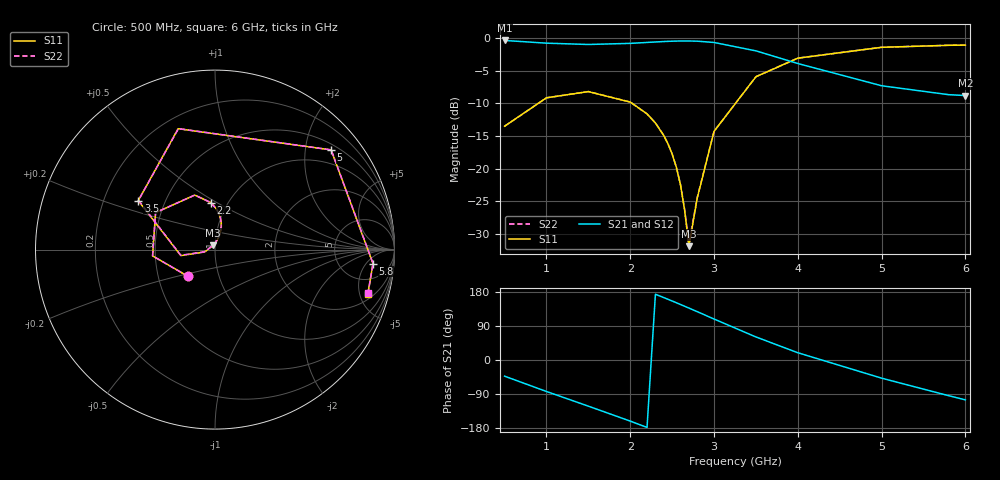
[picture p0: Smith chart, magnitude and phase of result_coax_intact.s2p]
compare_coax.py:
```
"""Compare the original PCB + BWSMA connector sweep with measured S11/S21."""
from .report_paths import REPORTS, write_report
import json
import numpy as np
import matplotlib
matplotlib.use('Agg')
import matplotlib.pyplot as plt
from .compare import HERE, MEASUREMENTS, measured, db

OUT=HERE/'preview_coax'


def main():
    data=np.load(HERE/'result_coax_intact.npz')
    meta=json.loads((HERE/'result_coax_intact.json').read_text(encoding='utf-8'))
    f=data['f'].reshape(-1);s=data['Smat50'];z=data['Z0']
    assert meta['status']=='completed' and s.shape==(len(f),2,2) and np.all(np.isfinite(s))
    mf,m11,m21=measured(MEASUREMENTS/'coupon_7628_horizontal_10mm.s2p')
    old=np.load(HERE/'result_2layer.npz')
    m21_at_f=np.interp(f,mf,db(m21))
    m11_at_f=np.interp(f,mf,db(m11))
    checks=dict(frequencies=len(f),nodes=meta['nodes'],tetrahedra=meta['tetrahedra'],
                modal_Z0_real_range_ohm=[float(z.real.min()),float(z.real.max())],
                max_modal_Z0_imag_ohm=float(abs(z.imag).max()),
                max_reciprocity_error=float(abs(s[:,1,0]-s[:,0,1]).max()),
                max_symmetry_error=float(abs(s[:,0,0]-s[:,1,1]).max()),
                max_singular_value=float(np.linalg.svd(s,compute_uv=False).max()),
                mean_abs_S21_error_dB=float(np.mean(abs(db(s[:,1,0])-m21_at_f))),
                prior_PCB_mean_abs_S21_error_dB=float(np.mean(abs(db(old['Smat'][:,1,0])-m21_at_f))),
                sampled_S11_minimum_GHz=float(f[np.argmin(abs(s[:,0,0]))]/1e9))
    rows=[]
    for k,freq in enumerate(f):
        rows.append(dict(f_GHz=float(freq/1e9),S11_dB=float(db(s[k,0,0])),
            S21_dB=float(db(s[k,1,0])),measured_S11_dB=float(m11_at_f[k]),
            measured_S21_dB=float(m21_at_f[k]),
            reflected_power=float(abs(s[k,0,0])**2),transmitted_power=float(abs(s[k,1,0])**2),
            remaining_power=float(1-abs(s[k,0,0])**2-abs(s[k,1,0])**2)))
    checks['rows']=rows
    (OUT/'comparison_metrics.json').write_text(json.dumps(checks,indent=2)+'\n',encoding='utf-8')
    for zoom in (False,True):
        fig,axes=plt.subplots(2,1,figsize=(10,8),sharex=True,constrained_layout=True)
        for ax,i,j,mv in [(axes[0],1,0,m21),(axes[1],0,0,m11)]:
            ax.plot(mf/1e9,db(mv),color='#0072b2',lw=1.5,label='Measured: 10 mm coupon, original connectors')
            ax.plot(f/1e9,db(s[:,i,j]),'o-',color='#009e73',lw=2,ms=4,
                    label='PCB + simplified BWSMA: coax ports, 50 ohm')
            ax.plot(old['f']/1e9,db(old['Smat'][:,i,j]),'x--',color='#8654a0',lw=1.1,ms=4,
                    label='Earlier PCB-only lumped-port reference')
            ax.grid(alpha=.25);ax.legend(fontsize=8,loc='lower left')
            ax.set_xlim((2.1,3.0) if zoom else (0,6.1))
        axes[0].set(ylabel='S21 (dB)',ylim=(-1.5,.1) if zoom else (-14,1))
        axes[1].set(ylabel='S11 (dB)',xlabel='Frequency (GHz)',ylim=(-50,1))
        fig.suptitle('Original PCB: no ground openings; simplified BWSMA connectors\n'
                     '20 directly solved frequencies; first-order FEM; 370,867 tetrahedra')
        fig.savefig(OUT/('coax_detail_2p6GHz.png' if zoom else 'coax_vs_measurement.png'),dpi=170,bbox_inches='tight')
        plt.close(fig)
    fig,axes=plt.subplots(2,1,figsize=(9,6),sharex=True,constrained_layout=True)
    z=z.reshape(len(f),2)
    for p in (0,1):
        axes[0].plot(f/1e9,z[:,p].real,'o-',ms=3,label=f'P{p+1}')
    axes[0].axhline(50,color='gray',ls='--',lw=1,label='Analytical design value')
    axes[0].set(ylabel='Native modal impedance (ohm)');axes[0].legend()
    for label,values in [('Reflected',abs(s[:,0,0])**2),('Transmitted',abs(s[:,1,0])**2),
                         ('Remaining: loss / radiation / numerical',1-abs(s[:,0,0])**2-abs(s[:,1,0])**2)]:
        axes[1].plot(f/1e9,values,'o-',ms=3,label=label)
    axes[1].set(ylabel='Fraction of incident power',xlabel='Frequency (GHz)',ylim=(-.03,1.03))
    axes[1].legend(fontsize=8)
    for ax in axes:ax.grid(alpha=.25)
    fig.suptitle('Coax port impedance and power balance (50-ohm S-matrix)')
    fig.savefig(OUT/'coax_ports_power.png',dpi=170);plt.close(fig)
    lines=['! Original 10 mm PCB, no ground openings; simplified BWSMA connectors included',
           '! Reference planes: coax annuli x=-8.10 and 28.26 mm; renormalized to 50 ohm',
           '! 20 directly solved frequencies; first-order FEM; no de-embedding','# Hz S RI R 50']
    for freq,m in zip(f,s):
        vals=[m[0,0],m[1,0],m[0,1],m[1,1]]
        lines.append(f'{freq:.12g} '+' '.join(f'{v.real:.12g} {v.imag:.12g}' for v in vals))
    (HERE/'result_coax_intact.s2p').write_text('\n'.join(lines)+'\n',encoding='utf-8')
    table=['| GHz | Sim. S21, dB | Meas. S21, dB | Sim. S11, dB | Meas. S11, dB |',
           '|---:|---:|---:|---:|---:|']
    for r in rows:
        table.append(f'| {r["f_GHz"]:g} | {r["S21_dB"]:.2f} | {r["measured_S21_dB"]:.2f} | '
                     f'{r["S11_dB"]:.2f} | {r["measured_S11_dB"]:.2f} |')
    text=['# Original PCB with simplified BWSMA connectors: first control', '',
          '**One new completed sweep: 20 frequencies, original ground beneath both launch pads.** '
          'No ground openings, mesh variants or geometry optimization are included in this result.', '',
          '![S21 and S11 versus the original-connector measurement](preview_coax/coax_vs_measurement.png)', '',
          'The connector-inclusive model reproduces the broad response: low transmission loss '
          'below about 3 GHz, a reflection minimum around 2.7 GHz, and strong reflection / '
          'transmission reduction above 3 GHz. It does not reproduce the measured high-frequency '
          'ripples or both narrow measured reflection minima near 2.5–2.7 GHz. '
          'At 3.5–5 GHz it predicts roughly 1.4–1.8 dB more transmission than measured. '
          'Adding these connectors therefore preserves the main earlier diagnosis, but does '
          'not produce a substantially better overall measurement fit.', '',
          '## Configuration', '',
          'The approved [connector geometry](03_CONNECTOR_GEOMETRY.md) is unchanged. '
          'The model retains all four copper layers, 12 ground vias, original pads and tapers, '
          'and simplified connector signal pins, ground tails, shields and PTFE. '
          'First-order FEM uses 370,867 tetrahedra / 63,157 nodes. One EMerge `run_sweep()` '
          'solves 20 frequencies from 0.5 to 6 GHz; `frequency_groups=1` limits matrix memory. '
          f'The solve took {meta["solve_seconds"]/60:.1f} minutes.', '',
          'The reference planes are coax annuli at x=−8.10 and 28.26 mm. '
          'The connectors remain included: no connector or feed de-embedding is applied. '
          'The raw native S-matrix, modal impedances and propagation constants are preserved; '
          'the plotted matrix and Touchstone export use a common 50 Ω reference. '
          'The measured file is `coupon_7628_horizontal_10mm.s2p`; its S12/S22 zero placeholders '
          'are not used. The Amphenol measurement is not the target of this control.', '',
          '## Numerical comparison', '',
          f'Mean absolute S21 difference across the 20 sampled frequencies: '
          f'**{checks["mean_abs_S21_error_dB"]:.2f} dB**. '
          f'The earlier PCB-only lumped model gives {checks["prior_PCB_mean_abs_S21_error_dB"]:.2f} dB '
          'on the same frequencies. These are descriptive fit statistics, not estimated measurement '
          'or simulation uncertainties. Measurement amplitudes in dB are linearly interpolated '
          'onto the simulation frequencies for the table and this statistic.', '',
          *table, '',
          '![Detail around 2.6 GHz](preview_coax/coax_detail_2p6GHz.png)', '',
          'Markers are directly solved points; connecting segments are only a visual guide. '
          f'The lowest sampled simulated S11 occurs at {checks["sampled_S11_minimum_GHz"]:g} GHz. '
          'This is not a continuous-frequency search for the exact notch.', '',
          '## Port and consistency checks', '',
          '![Port impedance and power fractions](preview_coax/coax_ports_power.png)', '',
          f'Native modal Z0 spans {checks["modal_Z0_real_range_ohm"][0]:.3f}–'
          f'{checks["modal_Z0_real_range_ohm"][1]:.3f} Ω; maximum imaginary part magnitude '
          f'{checks["max_modal_Z0_imag_ohm"]:.3g} Ω. '
          f'Maximum |S21−S12|: {checks["max_reciprocity_error"]:.3g}; '
          f'maximum |S11−S22|: {checks["max_symmetry_error"]:.3g}; '
          f'maximum singular value: {checks["max_singular_value"]:.6f}.', '',
          'The remaining power fraction combines dielectric/conductor dissipation, radiation '
          'and numerical error; it is not an isolated estimate of FR4 loss. Reciprocity, symmetry '
          'and passivity checks do not establish mesh or air-box convergence. This is a first '
          'connector-inclusive control on one mesh, with the documented internal connector '
          'and solder-contact approximations.', '',
          'EMerge emitted overlap-priority warnings where PCB copper, via barrels, connector '
          'tails and ideal contact bridges overlap. Every listed contender in those warnings '
          'uses the same Copper material instance; these overlaps do not request conflicting '
          'dielectric/conductor properties. The CAD connectivity checks still find exactly '
          'one signal network and one separate ground network.', '',
          '## Files and reproduction', '',
          '- `result_coax_intact.npz`: raw/native and 50 Ω S, modal Z0 and β.',
          '- `result_coax_intact.json`: geometry, mesh and completed-sweep metadata.',
          '- `result_coax_intact.s2p`: connector-inclusive 50 Ω S-parameters.',
          '- `preview_coax/comparison_metrics.json`: all sampled comparison values and checks.', '',
          'From `C:\\Fun\\ToyRadar\\Frontend\\emerge`:', '', '```powershell',
          '.\\.venv\\Scripts\\python.exe -m coupon_10mm.connector_model --reuse-mesh --solve',
          '.\\.venv\\Scripts\\python.exe -m coupon_10mm.compare_coax', '```']
    write_report(REPORTS/'04_COAX_RESULTS.md', '\n'.join(text)+'\n')
    print(json.dumps({k:v for k,v in checks.items() if k!='rows'},indent=2))


if __name__=='__main__': main()
```
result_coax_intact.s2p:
! Original 10 mm PCB, no ground openings; simplified BWSMA connectors included
! Reference planes: coax annuli x=-8.10 and 28.26 mm; renormalized to 50 ohm
! 20 directly solved frequencies; first-order FEM; no de-embedding
# Hz S RI R 50
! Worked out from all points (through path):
!   20 points, 500 MHz to 6 GHz, reference 50 ohm
!   highest |S21| = -0.33 dB at 500 MHz (marker M1); lowest = -8.8 dB at 6 GHz (marker M2)
!   lowest |S11| = -31.9 dB at 2.7 GHz (marker M3), VSWR 1.05, Z = 49 + j2.3 ohm
!   |S11| at or under -10 dB: start of sweep to 900.6 MHz; 2.023 GHz to 3.255 GHz (1.232 GHz wide, 46.7 % of centre)
!   |S22| runs from -31.5 to -1.0 dB; largest |S21 - S12| = 3.2e-12
!   S11 on the Smith chart (normalised r, x): 500 MHz: 0.71, -0.22; 2.2 GHz: 0.84, +0.47; 3.5 GHz: 0.35, +0.26; 5 GHz: 0.63, +2.57; 5.8 GHz: 11, -8; 6 GHz: 2.62, -5.98
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5e8  -0.1499 -0.1491  0.7075 -0.6525  0.7075 -0.6525  -0.1499 -0.149
1.5e9  -0.3312 0.2058  -0.473 -0.7613  -0.473 -0.7613  -0.331 0.206
2.2e9  -0.0226 0.2618  -0.9286 -0.0338  -0.9286 -0.0338  -0.023 0.2619
2.55e9  0.0308 0.0976  -0.8332 0.4602  -0.8332 0.4602  0.03 0.0982
2.7e9  -0.00961 0.0235  -0.698 0.6497  -0.698 0.6497  -0.0104 0.0245
3e9  -0.1903 -0.0334  -0.2887 0.8829  -0.2887 0.8829  -0.1907 -0.0317
3.5e9  -0.4275 0.2728  0.3909 0.699  0.3909 0.699  -0.4264 0.2747
4e9  -0.2055 0.6734  0.6048 0.2104  0.6048 0.2104  -0.2038 0.6741
5e9  0.6471 0.5554  0.2895 -0.3209  0.2895 -0.3209  0.6473 0.5556
5.8e9  0.8802 -0.0785  -0.0267 -0.3683  -0.0267 -0.3683  0.8806 -0.0771
6e9  0.8518 -0.245  -0.0957 -0.3508  -0.0957 -0.3508  0.8525 -0.2435
